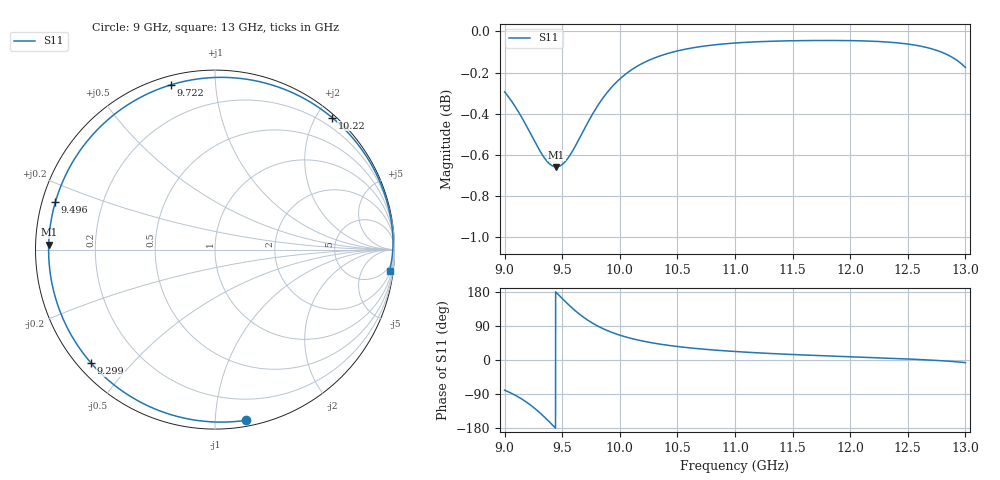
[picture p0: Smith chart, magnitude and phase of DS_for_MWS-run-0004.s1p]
! TOUCHSTONE file generated by CST DESIGN STUDIO
! Date and time: Tue Feb  4 16:22:51 2025
! Project name: C:\Work\MatlabApps\UnitCellOptimizationMatlab\CST\unitcell.cst
! Tree item: Tasks\Sweep1\SPara1\S-Parameters
! Header version: 2024
! Port assignment regex: !\s*Touchstone port\s*([0-9]+)\s*=\s*(CST MWS port|CST DES external port|CST DES block port)\s*(.+)\s* \(\"(.*)\"\)(\s*mode\s*([0-9]+))?.*
! Touchstone port assignment:
! Touchstone port 1 = CST DES external port 1 ("")
# GHz S MA R 50
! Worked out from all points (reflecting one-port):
!   4001 points, 9 GHz to 13 GHz, reference 50 ohm
!   lowest |S11| = -0.7 dB at 9.448 GHz (marker M1), VSWR 26.39, Z = 1.89 + j0.719 ohm
!   phase of S11 starts at -80 deg and turns -287 deg over the sweep
!   S11 on the Smith chart (normalised r, x): 9 GHz: 0.04, -1.20; 9.299 GHz: 0.04, -0.39; 9.496 GHz: 0.04, +0.14; 9.722 GHz: 0.04, +0.77; 10.22 GHz: 0.05, +2.23; 13 GHz: 3, -16
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9  0.9667 -79.6
9.094  0.9586 -93.3
9.169  0.9508 -106.9
9.236  0.9431 -121.5
9.299  0.9361 -137.4
9.379  0.9292 -160.4
9.414  0.9275 -171.1
9.448  0.927 178.4
9.496  0.928 163.5
9.5  0.9282 162.3
9.558  0.9322 145.1
9.611  0.9375 130.6
9.665  0.9437 117.4
9.722  0.9502 105.1
9.785  0.957 93.4
9.859  0.9638 82.0
9.928  0.9692 73.2
10  0.9737 65.5
10.105  0.9789 56.5
10.225  0.9832 48.4
10.5  0.9891 35.6
10.723  0.9917 28.7
11  0.9935 22.4
11.5  0.9948 14.5
12  0.9948 8.5
12.5  0.9929 2.7
12.783  0.9887 -1.7
13  0.98 -6.9
